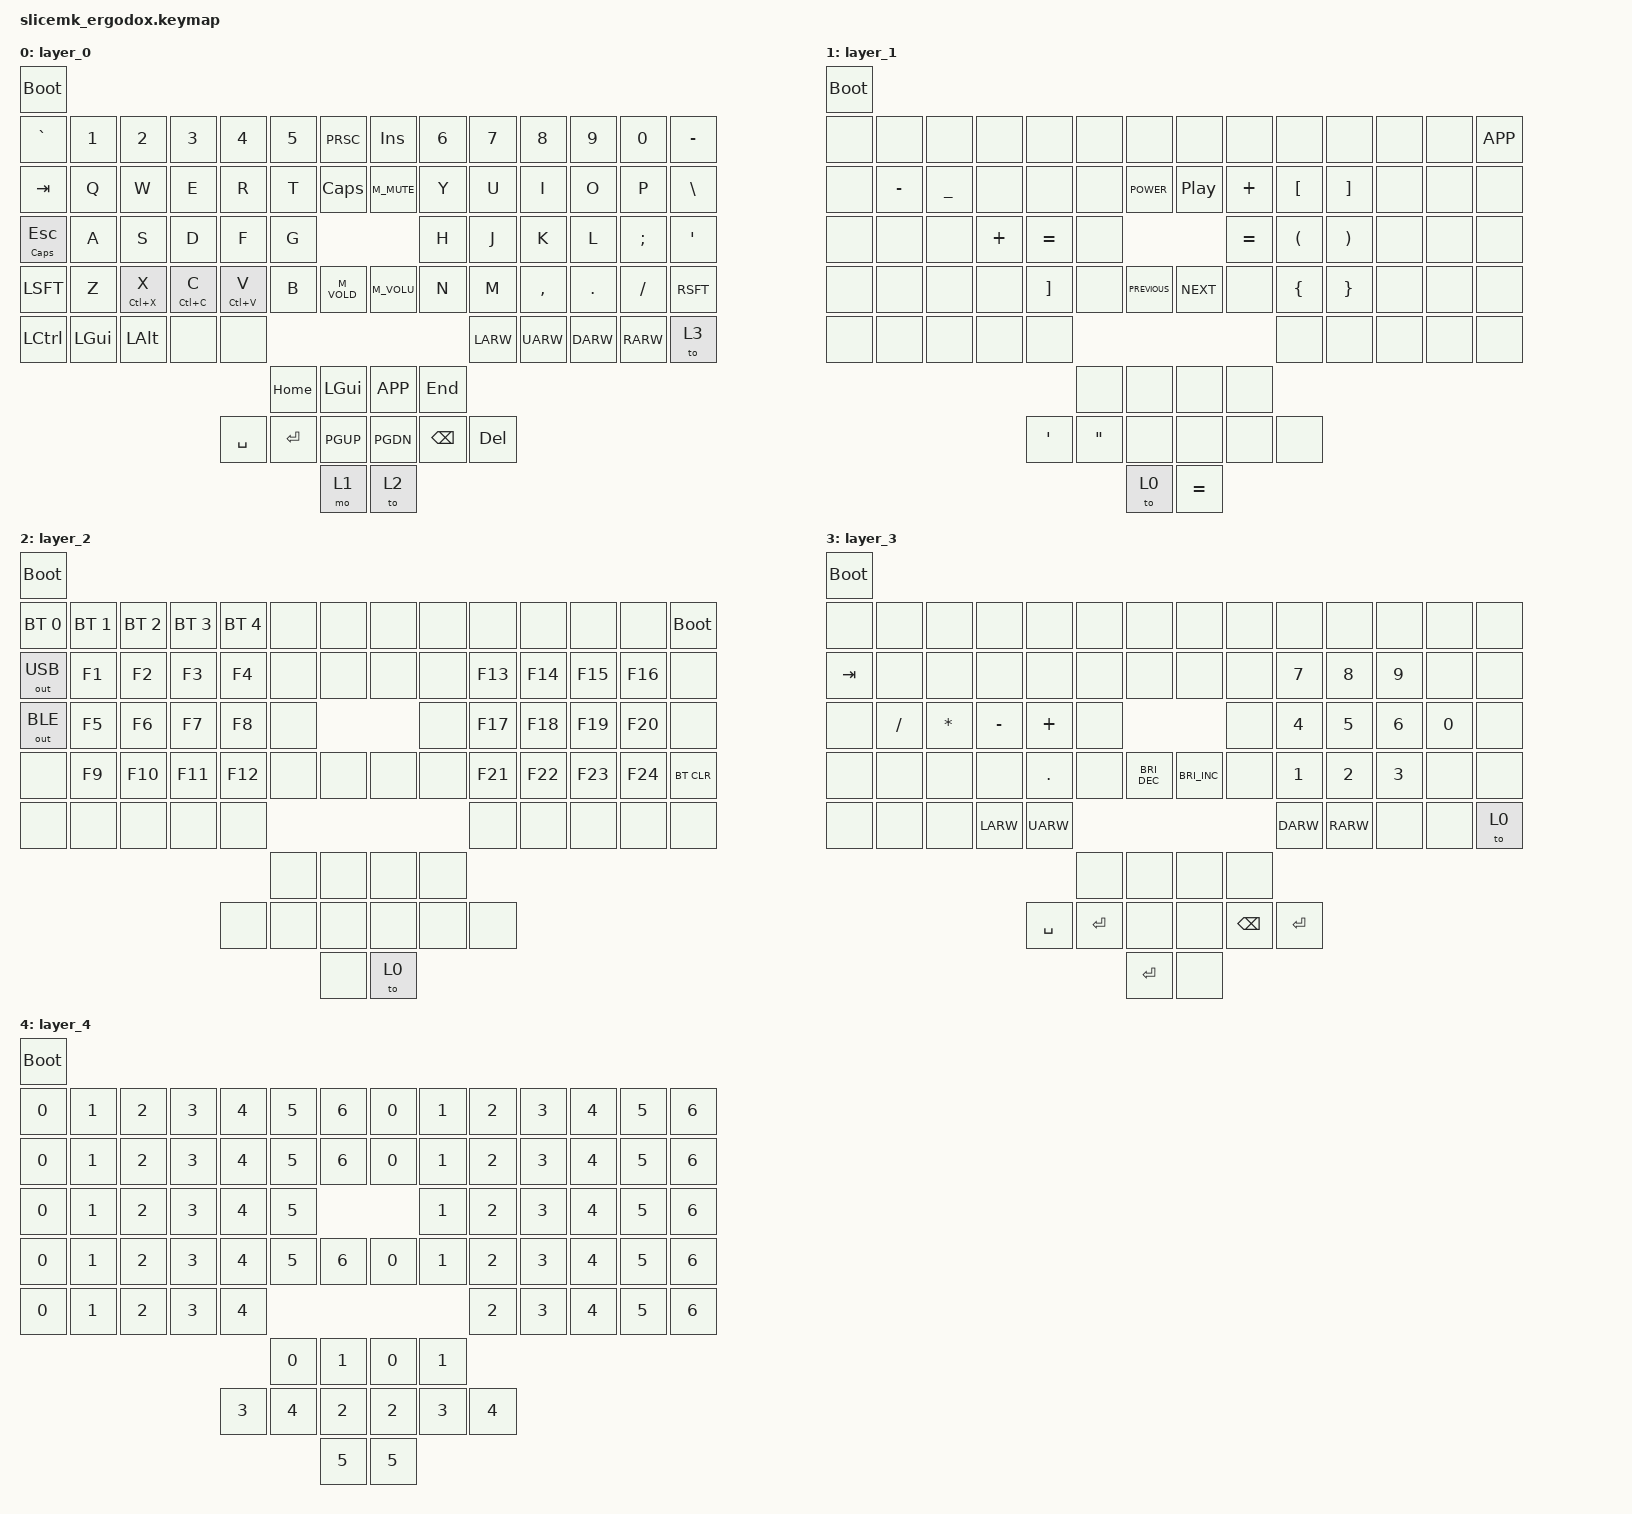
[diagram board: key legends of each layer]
#include <behaviors.dtsi>
#include <dt-bindings/zmk/bt.h>
#include <dt-bindings/zmk/keys.h>
#include <dt-bindings/zmk/outputs.h>


&mt {
    tapping-term-ms = <25>;
};


/ {
    behaviors {
        tp: tap_preferred {
            compatible = "zmk,behavior-hold-tap";
            label = "TAP_PREFERRED_MODS";
            #binding-cells = <2>;
            tapping-term-ms = <250>;
            quick-tap-ms = <0>;
            flavor = "tap-preferred";
            bindings = <&kp>, <&kp>;
        };
    };	


    keymap {
		compatible = "zmk,keymap";
		layer_0 {
			bindings = <
				&bootloader
				&kp GRAV     &kp NUMBER_1 &kp NUMBER_2 &kp NUMBER_3 &kp NUMBER_4 &kp NUMBER_5 &kp PRSC   &kp INS    &kp NUMBER_6 &kp NUMBER_7 &kp NUMBER_8 &kp NUMBER_9 &kp NUMBER_0  &kp MINUS
				&kp TAB      &kp Q        &kp W        &kp E        &kp R        &kp T        &kp CLCK   &kp M_MUTE &kp Y        &kp U        &kp I        &kp O        &kp P         &kp BSLH
				&mt CLCK ESC &kp A        &kp S        &kp D        &kp F        &kp G                              &kp H        &kp J        &kp K        &kp L        &kp SEMICOLON &kp SINGLE_QUOTE
				&kp LSFT     &kp Z        &tp LC(X) X  &tp LC(C) C  &tp LC(V) V  &kp B        &kp M_VOLD &kp M_VOLU &kp N        &kp M        &kp CMMA     &kp DOT      &kp FSLH      &kp RSFT
				&kp LCTRL    &kp LGUI     &kp LALT     &none        &none                                                        &kp LARW     &kp UARW     &kp DARW     &kp RARW      &to 3
				                                                                 &kp HOME     &kp LGUI   &kp K_APP  &kp END
				                                                    &kp SPC      &kp RET      &kp PGUP   &kp PGDN   &kp BKSP     &kp DEL
				                                                                              &mo 1      &to 2
			>;
		};
		layer_1 {
			bindings = <
				&bootloader
				&none &none     &none          &none    &none            &none             &none          &none            &none        &none                &none                 &none &none &kp K_APP
				&none &kp MINUS &kp UNDERSCORE &none    &none            &none             &kp C_POWER    &kp C_PLAY_PAUSE &kp PLUS     &kp LBKT             &kp RBKT              &none &none &none
				&none &none     &none          &kp PLUS &kp EQUAL        &none                                             &kp EQUAL    &kp LEFT_PARENTHESIS &kp RIGHT_PARENTHESIS &none &none &none
				&none &none     &none          &none    &kp RBKT         &none             &kp C_PREVIOUS &kp C_NEXT       &none        &kp LEFT_BRACE       &kp RIGHT_BRACE       &none &none &none
				&none &none     &none          &none    &none                                                                           &none                &none                 &none &none &none
				                                                         &none             &none          &none            &none
				                                        &kp SINGLE_QUOTE &kp DOUBLE_QUOTES &none          &none            &none &none
				                                                                           &to 0          &kp EQUAL
			>;
		};
		layer_2 {
			bindings = <
				&bootloader
				&bt BT_SEL 0 &bt BT_SEL 1 &bt BT_SEL 2 &bt BT_SEL 3 &bt BT_SEL 4 &none &none &none &none &none   &none   &none   &none   &bootloader
				&out OUT_USB &kp F1       &kp F2       &kp F3       &kp F4       &none &none &none &none &kp F13 &kp F14 &kp F15 &kp F16 &none
				&out OUT_BLE &kp F5       &kp F6       &kp F7       &kp F8       &none             &none &kp F17 &kp F18 &kp F19 &kp F20 &none
				&none        &kp F9       &kp F10      &kp F11      &kp F12      &none &none &none &none &kp F21 &kp F22 &kp F23 &kp F24 &bt BT_CLR
				&none        &none        &none        &none        &none                                &none   &none   &none   &none   &none
				                                                                 &none &none &none &none
				                                                    &none        &none &none &none &none &none
				                                                                       &none &to 0
			>;
		};
		layer_3 {
			bindings = <
				&bootloader
				&none   &none     &none        &none     &none    &none   &none                &none                &none    &none        &none        &none        &none        &none
				&kp TAB &none     &none        &none     &none    &none   &none                &none                &none    &kp NUMBER_7 &kp NUMBER_8 &kp NUMBER_9 &none        &none
				&none   &kp SLASH &kp ASTERISK &kp MINUS &kp PLUS &none                                             &none    &kp NUMBER_4 &kp NUMBER_5 &kp NUMBER_6 &kp NUMBER_0 &none
				&none   &none     &none        &none     &kp DOT  &none   &kp C_BRIGHTNESS_DEC &kp C_BRIGHTNESS_INC &none    &kp NUMBER_1 &kp NUMBER_2 &kp NUMBER_3 &none        &none
				&none   &none     &none        &kp LARW  &kp UARW                                                            &kp DARW     &kp RARW     &none        &none        &to 0
				                                                  &none   &none                &none                &none
				                                         &kp SPC  &kp RET &none                &none                &kp BKSP &kp RET
				                                                          &kp RET              &none
			>;
		};
		layer_4 {
			bindings = <
				&bootloader
				&kp NUM_0 &kp NUM_1 &kp NUM_2 &kp NUM_3 &kp NUM_4 &kp NUM_5 &kp NUM_6 &kp NUM_0 &kp NUM_1 &kp NUM_2 &kp NUM_3 &kp NUM_4 &kp NUM_5 &kp NUM_6
				&kp NUM_0 &kp NUM_1 &kp NUM_2 &kp NUM_3 &kp NUM_4 &kp NUM_5 &kp NUM_6 &kp NUM_0 &kp NUM_1 &kp NUM_2 &kp NUM_3 &kp NUM_4 &kp NUM_5 &kp NUM_6
				&kp NUM_0 &kp NUM_1 &kp NUM_2 &kp NUM_3 &kp NUM_4 &kp NUM_5                     &kp NUM_1 &kp NUM_2 &kp NUM_3 &kp NUM_4 &kp NUM_5 &kp NUM_6
				&kp NUM_0 &kp NUM_1 &kp NUM_2 &kp NUM_3 &kp NUM_4 &kp NUM_5 &kp NUM_6 &kp NUM_0 &kp NUM_1 &kp NUM_2 &kp NUM_3 &kp NUM_4 &kp NUM_5 &kp NUM_6
				&kp NUM_0 &kp NUM_1 &kp NUM_2 &kp NUM_3 &kp NUM_4                                         &kp NUM_2 &kp NUM_3 &kp NUM_4 &kp NUM_5 &kp NUM_6
				                                                  &kp NUM_0 &kp NUM_1 &kp NUM_0 &kp NUM_1
				                                        &kp NUM_3 &kp NUM_4 &kp NUM_2 &kp NUM_2 &kp NUM_3 &kp NUM_4
				                                                            &kp NUM_5 &kp NUM_5
			>;
		};
	};

};
